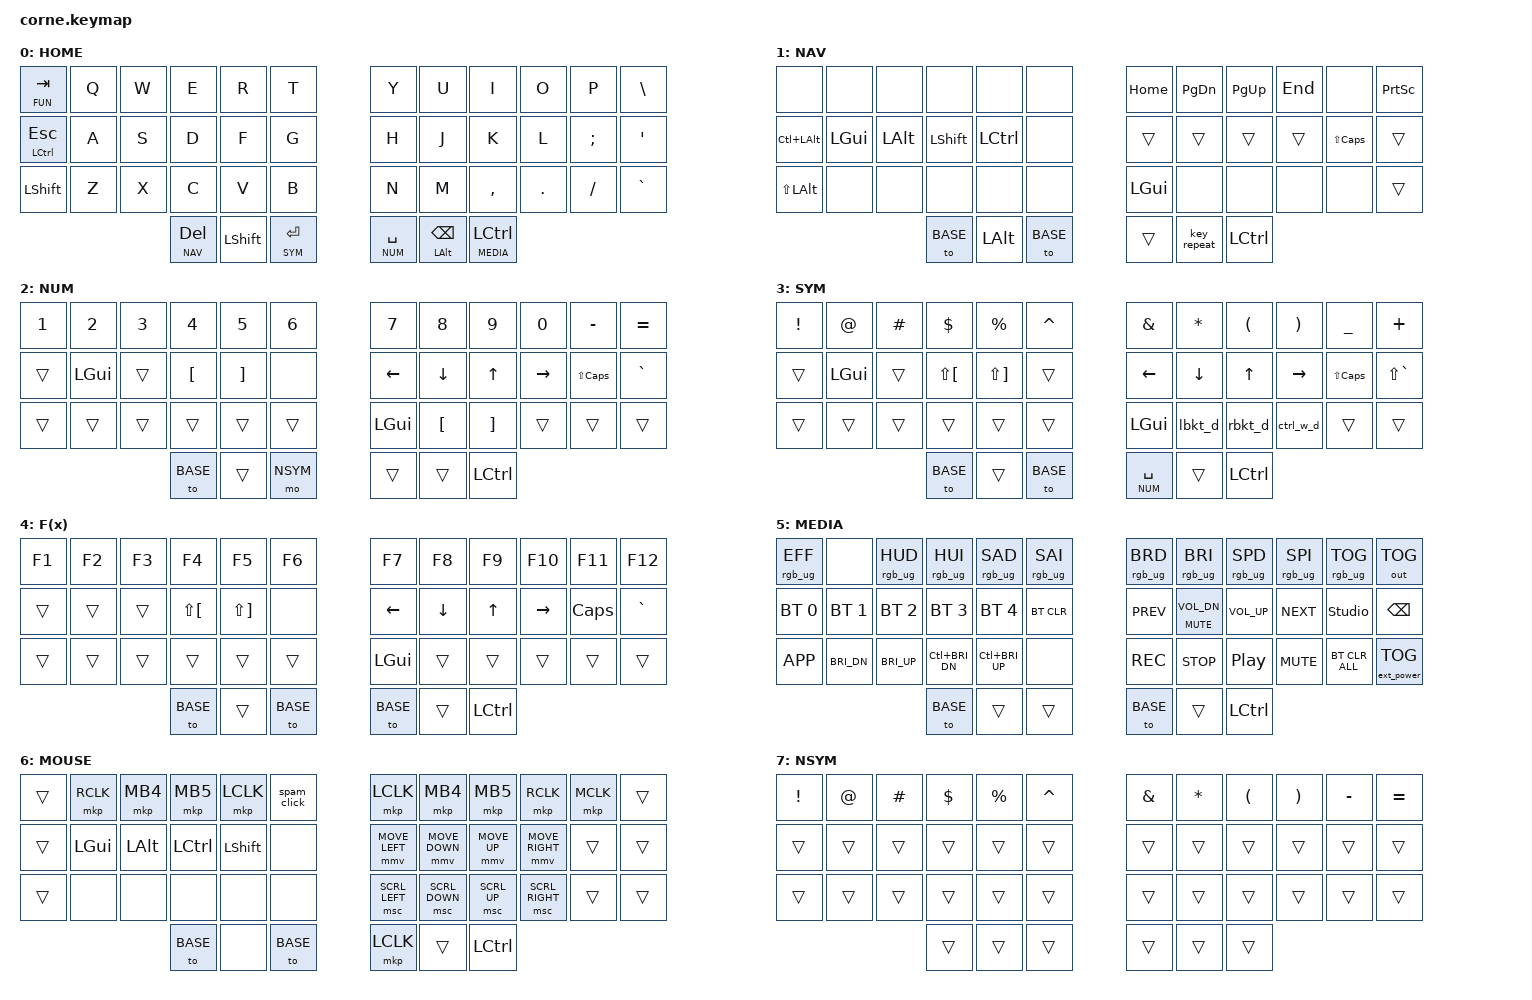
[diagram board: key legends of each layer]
#include <behaviors.dtsi>
#include <dt-bindings/zmk/bt.h>
#include <dt-bindings/zmk/ext_power.h>
#include <dt-bindings/zmk/keys.h>
#include <dt-bindings/zmk/outputs.h>

#define ZMK_POINTING_DEFAULT_MOVE_VAL 1200  // default: 600
#define ZMK_POINTING_DEFAULT_SCRL_VAL 40    // default: 10
#include <dt-bindings/zmk/pointing.h>
#include <zephyr/dt-bindings/input/input-event-codes.h>
#include <dt-bindings/zmk/rgb.h>

#define BASE  0
#define NAV   1
#define NUM   2
#define SYM   3
#define FUN   4
#define MEDIA 5
#define MOUSE 6
#define NSYM  7

// Corne key positions (42 keys):
// Row 0:  0  1  2  3  4  5    6  7  8  9  10  11
// Row 1: 12 13 14 15 16 17   18 19 20 21  22  23
// Row 2: 24 25 26 27 28 29   30 31 32 33  34  35
// Thumb:          36 37 38   39 40 41

&mt {
    flavor = "tap-preferred";
    tapping-term-ms = <175>;
    quick-tap-ms = <175>;
    require-prior-idle-ms = <50>;
};

&lt {
    flavor = "tap-preferred";
    tapping-term-ms = <175>;
    quick-tap-ms = <175>;
    require-prior-idle-ms = <50>;
};

// Mouse movement configuration
&mmv {
    time-to-max-speed-ms = <300>;
    acceleration-exponent = <2>;
};

// Mouse scroll configuration
&msc {
    time-to-max-speed-ms = <750>;
    acceleration-exponent = <1>;
};

&key_repeat {
    usage-pages = <HID_USAGE_KEY HID_USAGE_CONSUMER>;
};

/ {
    behaviors {
        mt_fast: mt_fast {
            compatible = "zmk,behavior-hold-tap";
            #binding-cells = <2>;
            flavor = "tap-preferred";
            tapping-term-ms = <140>;
            quick-tap-ms = <140>;
            require-prior-idle-ms = <25>;
            bindings = <&kp>, <&kp>;          // This makes it act exactly like 'mt'
        };
        mt_slow: mt_slow {
            compatible = "zmk,behavior-hold-tap";
            #binding-cells = <2>;
            flavor = "tap-preferred";
            tapping-term-ms = <250>;          // Your different timing here
            quick-tap-ms = <250>;
            require-prior-idle-ms = <100>;
            bindings = <&kp>, <&kp>;          // This makes it act exactly like 'mt'
        };
        lt_fast: lt_fast {
            compatible = "zmk,behavior-hold-tap";
            #binding-cells = <2>;
            flavor = "tap-preferred";
            tapping-term-ms = <140>;
            quick-tap-ms = <140>;
            require-prior-idle-ms = <25>;
            bindings = <&mo>, <&kp>;
        };
        lt_slow: lt_slow {
            compatible = "zmk,behavior-hold-tap";
            #binding-cells = <2>;
            flavor = "tap-preferred";
            tapping-term-ms = <250>;          // Your different timing here
            quick-tap-ms = <250>;
            require-prior-idle-ms = <135>;
            bindings = <&mo>, <&kp>;          // This makes it act exactly like 'mt'
        };

        // // --- H MORPH LOGIC ---
        // h_ctrl: h_ctrl {
        //     compatible = "zmk,behavior-mod-morph";
        //     #binding-cells = <0>;
        //     bindings = <&kp H>, <&kp LC(LA(H))>; // Normal H vs Ctrl+Alt+H
        //     mods = <(MOD_LCTL)>;
        // };
        //
        // h_morph: h_morph {
        //     compatible = "zmk,behavior-mod-morph";
        //     #binding-cells = <0>;
        //     bindings = <&h_ctrl>, <&kp LS(LA(H))>; // Shift+Alt+H if Shift held
        //     mods = <(MOD_LSFT)>;
        // };
        //
        // // --- L MORPH LOGIC ---
        // l_ctrl: l_ctrl {
        //     compatible = "zmk,behavior-mod-morph";
        //     #binding-cells = <0>;
        //     bindings = <&kp L>, <&kp LC(LA(L))>; // Normal L vs Ctrl+Alt+L
        //     mods = <(MOD_LCTL)>;
        // };
        //
        // l_morph: l_morph {
        //     compatible = "zmk,behavior-mod-morph";
        //     #binding-cells = <0>;
        //     bindings = <&l_ctrl>, <&kp LS(LA(L))>; // Shift+Alt+L if Shift held
        //     mods = <(MOD_LSFT)>;
        // };

        //td_space: tap_dance_space {
        //    compatible = "zmk,behavior-tap-dance";
        //    #binding-cells = <0>;
        //    tapping-term-ms = <165>;
        //    /* 1st tap: Layer-Tap (Hold = NAV, Tap = SPACE)
        //       2nd tap: Layer action for SYM layer */
        //    bindings = <&lt NAV SPACE>, <&sl SYM>;
        //};

        //td_quote: tap_dance_quote {
        //    compatible = "zmk,behavior-tap-dance";
        //    #binding-cells = <0>;
        //    tapping-term-ms = <165>;
        //    /* 1st tap: Single Quote (')
        //       2nd tap: Grave / Backtick (`) */
        //    bindings = <&kp SQT>, <&kp GRAVE>;
        //};

        /* 1. Custom Hold-Taps: 
            Holds = Momentary Layer
            Taps  = Space key
        */
        //lt_tap_hold: lt_tap_hold {
        //    compatible = "zmk,behavior-hold-tap";
        //    #binding-cells = <2>;
        //    flavor = "tap-preferred";
        //    //flavor = "hold-preferred";
        //    tapping-term-ms = <40>;
        //    //require-prior-idle-ms = <150>;
        //    bindings = <&mo>, <&kp>; // First param = layer, Second param = keycode
        //};

        //mt_tap_hold: mt_tap_hold {
        //    compatible = "zmk,behavior-hold-tap";
        //    #binding-cells = <2>;
        //    flavor = "tap-preferred";
        //    //flavor = "hold-preferred";
        //    tapping-term-ms = <40>;
        //    //require-prior-idle-ms = <150>;
        //    bindings = <&kp>, <&kp>; // First param = layer, Second param = keycode
        //};

        /* 2. Tap Dance:
            1st action (Tap/Hold) -> Space on tap, NUM on hold
            2nd action (Double-Tap) -> Permanently switch layer
        */
        //num_mouse_space: num_mouse_space {
        //    compatible = "zmk,behavior-tap-dance";
        //    #binding-cells = <0>;
        //    tapping-term-ms = <150>;
        //    bindings = <&lt_tap_hold NUM SPACE>, <&to MOUSE>;
        //};

        //num_lock: num_lock {
        //    compatible = "zmk,behavior-tap-dance";
        //    #binding-cells = <0>;
        //    tapping-term-ms = <150>;
        //    bindings = <&lt_tap_hold NUM SPACE>, <&to NUM>;
        //};

        //sft_mouse: sft_mouse {
        //    compatible = "zmk,behavior-tap-dance";
        //    #binding-cells = <0>;
        //    tapping-term-ms = <150>;
        //    bindings = <&mt_tap_hold LSHFT BSPC>, <&to FUN>;
        //};

        //nav_mouse: nav_mouse {
        //    compatible = "zmk,behavior-tap-dance";
        //    #binding-cells = <0>;
        //    tapping-term-ms = <200>;
        //    bindings = <&lt_tap_hold NAV DEL>, <&to MOUSE>;
        //};

        ht_ctrl_tog: hold_ctrl_tap_toggle {
            compatible = "zmk,behavior-hold-tap";
            #binding-cells = <2>;
            flavor = "hold-preferred";
            tapping-term-ms = <250>;
            // The first binding is for hold (&kp), the second is for tap (&tog)
            bindings = <&kp>, <&tog>; 
        };

        // 2. DEDICATED FAST NODES FOR TAPS
        // These hit maximum velocity instantly, bypassing the ramp-up.
        mmv_fast: mmv_fast {
            compatible = "zmk,behavior-input-two-axis";
            #binding-cells = <1>;
            x-input-code = <INPUT_REL_X>;
            y-input-code = <INPUT_REL_Y>;
            time-to-max-speed-ms = <1>;
            acceleration-exponent = <1>;
        };

        msc_fast: msc_fast {
            compatible = "zmk,behavior-input-two-axis";
            #binding-cells = <1>;
            x-input-code = <INPUT_REL_HWHEEL>;
            y-input-code = <INPUT_REL_WHEEL>;
            time-to-max-speed-ms = <1>;
            acceleration-exponent = <1>;
        };

        ht_mmv: ht_mmv {
            compatible = "zmk,behavior-hold-tap";
            #binding-cells = <2>;
            flavor = "tap-preferred";
            tapping-term-ms = <130>;
            // Hold uses standard mmv, tap uses the 50ms macro
            bindings = <&mmv>, <&mmv_tap_macro>;
        };

        ht_msc: ht_msc {
            compatible = "zmk,behavior-hold-tap";
            #binding-cells = <2>;
            flavor = "tap-preferred";
            tapping-term-ms = <130>;
            // Hold uses standard msc, tap uses the 50ms macro
            bindings = <&msc>, <&msc_tap_macro>;
        };
    };
};

/ {
    combos {
        compatible = "zmk,combos";

        // f + j
        combo_caps_word {
            bindings = <&caps_word>;
            key-positions = <16 19>;
            timeout-ms = <68>;
            require-prior-idle-ms = <35>;
        };

        // j + k
        combo_lctrl {
            bindings = <&kp LCTRL>;
            key-positions = <19 20>;
            timeout-ms = <68>;
            require-prior-idle-ms = <35>;
        };

        // k + l
        combo_lshft {
            bindings = <&kp LSHFT>;
            key-positions = <20 21>;
            timeout-ms = <68>;
            require-prior-idle-ms = <35>;
        };

        // d + f
        combo_alt {
            bindings = <&kp LALT>;
            key-positions = <15 16>;
            timeout-ms = <68>;
            require-prior-idle-ms = <35>;
        };

        // j + k + l
        combo_ctrl_shft {
            bindings = <&kp LC(LSHFT)>;
            key-positions = <19 20 21>;
            timeout-ms = <68>;
            require-prior-idle-ms = <35>;
        };

        // s + d + f
        combo_ctrl_shft_lft {
            bindings = <&kp LC(LSHFT)>;
            key-positions = <14 15 16>;
            timeout-ms = <68>;
            require-prior-idle-ms = <35>;
        };

        // ctrl + tb
        combo_ctrl_shft_alt {
            bindings = <&kp LC(LSHFT)>;
            key-positions = <37 12>;
            timeout-ms = <90>;
            require-prior-idle-ms = <30>;
        };


        // td + tf
        combo_num_lock {
            bindings = <&to NUM>;
            key-positions = <39 41>;
            timeout-ms = <75>;
            require-prior-idle-ms = <75>;
        };

        /* // ta + tc
        combo_sym_exclamation {
            bindings = <&kp EXCL>;
            key-positions = <0 38 39>;
            timeout-ms = <50>;
            require-prior-idle-ms = <40>;
        }; */

        // ta + tc
        combo_sym_lock {
            bindings = <&to SYM>;
            key-positions = <36 38>;
            timeout-ms = <75>;
            require-prior-idle-ms = <75>;
        };
        /* combo_fn { */
        /*     bindings = <&mo FUN>; */
        /*     key-positions = <36 37>; */
        /*     timeout-ms = <68>; */
        /*     require-prior-idle-ms = <45>; */
        /* }; */

        // td + te
        /* combo_fun_lock {
            bindings = <&to FUN>;
            // key-positions = <39 41>;
            key-positions = <39 40>;
            timeout-ms = <68>;
            require-prior-idle-ms = <45>;
        }; */

        // td + p
        // combo_space_p {
        //     bindings = <&space_p>;
        //     key-positions = <39 10>;
        //     timeout-ms = <60>;
        //     require-prior-idle-ms = <45>;
        // };
        combo_lpar {
            bindings = <&kp LPAR>;
            key-positions = <38 8>;
            timeout-ms = <60>;
            require-prior-idle-ms = <30>;
        };
        combo_rpar {
            bindings = <&kp RPAR>;
            key-positions = <38 9>;
            timeout-ms = <60>;
            require-prior-idle-ms = <30>;
        };
        combo_lgui {
            bindings = <&kp LGUI>;
            key-positions = <31 32>;
            timeout-ms = <60>;
            require-prior-idle-ms = <30>;
        };
        combo_lgui_alt {
            bindings = <&kp LGUI>;
            key-positions = <25 26>;
            timeout-ms = <60>;
            require-prior-idle-ms = <30>;
        };
        combo_lgui_i {
            bindings = <&kp LG(I)>;
            key-positions = <7 8 9>;
            timeout-ms = <60>;
            require-prior-idle-ms = <30>;
        };
        /*
        combo_minus {
            bindings = <&kp MINUS>;
            key-positions = <39 10>;
            timeout-ms = <60>;
            require-prior-idle-ms = <30>;
        };
        combo_equal {
            bindings = <&kp EQUAL>;
            key-positions = <39 11>;
            timeout-ms = <170>;
            require-prior-idle-ms = <30>;
        };
        combo_dollar {
            bindings = <&kp DOLLAR>;
            key-positions = <38 3>;
            timeout-ms = <170>;
            require-prior-idle-ms = <30>;
        };
        combo_caret {
            bindings = <&kp CARET>;
            key-positions = <38 5>;
            timeout-ms = <170>;
            require-prior-idle-ms = <30>;
        };
        combo_underscore {
            bindings = <&kp UNDERSCORE>;
            key-positions = <38 10>;
            timeout-ms = <170>;
            require-prior-idle-ms = <30>;
        };
        combo_plus {
            bindings = <&kp PLUS>;
            key-positions = <38 11>;
            timeout-ms = <170>;
            require-prior-idle-ms = <30>;
        };
        combo_lcurly {
            bindings = <&kp LS(LBKT)>;
            key-positions = <38 15>;
            timeout-ms = <60>;
            require-prior-idle-ms = <30>;
        };
        combo_rcurly {
            bindings = <&kp LS(RBKT)>;
            key-positions = <38 16>;
            timeout-ms = <60>;
            require-prior-idle-ms = <30>;
        };
        combo_lbkt {
            bindings = <&kp LBKT>;
            key-positions = <39 15>;
            timeout-ms = <60>;
            require-prior-idle-ms = <30>;
        };
        combo_rbkt {
            bindings = <&kp RBKT>;
            key-positions = <39 16>;
            timeout-ms = <60>;
            require-prior-idle-ms = <30>;
        };

        // te + p
        /* combo_underscore { */
        /*     bindings = <&kp UNDERSCORE>; */
        /*     key-positions = <40 10>; */
        /*     timeout-ms = <68>; */
        /*     require-prior-idle-ms = <45>; */
        /* }; */

        // tc + td
        combo_shift_enter {
            bindings = <&kp LS(RET)>;
            key-positions = <38 39>;
            timeout-ms = <90>;
            require-prior-idle-ms = <30>;
        };

        // tc + td + te
        combo_alt_shift_enter {
            bindings = <&kp LS(LA(RET))>;
            key-positions = <38 39 40>;
            timeout-ms = <120>;
            require-prior-idle-ms = <30>;
        };

        // ta + tf
        combo_nav_lctr_mouse {
            bindings = <&ht_ctrl_tog LCTRL MOUSE>;
            key-positions = <36 41>;
            timeout-ms = <150>;
            require-prior-idle-ms = <30>;
        };

        // shft + ta
        combo_nav_shft {
            bindings = <&kp LS(LALT)>;
            key-positions = <36 24>;
            timeout-ms = <120>;
            require-prior-idle-ms = <30>;
        };

        // ctrl + ta
        combo_nav_ctrl {
            bindings = <&kp LC(LALT)>;
            key-positions = <36 12>;
            timeout-ms = <120>;
            require-prior-idle-ms = <30>;
        };

        // c + v
        combo_visual {
            bindings = <&kp LS(V)>;
            key-positions = <27 28>;
            timeout-ms = <70>;
            require-prior-idle-ms = <35>;
        };

        // o + p
        /* combo_term_paste {
            bindings = <&kp LA(P)>;
            key-positions = <9 10>;
            timeout-ms = <58>;
            require-prior-idle-ms = <65>;
        }; */

        // j + b
        combo_next_tab {
            bindings = <&kp LC(TAB)>;
            key-positions = <29 19> ;
            timeout-ms = <70>;
            require-prior-idle-ms = <35>;
        };

        // j + v
        combo_prev_tab {
            bindings = <&kp LC(LS(TAB))>;
            key-positions = <28 19> ;
            timeout-ms = <70>;
            require-prior-idle-ms = <35>;
        };

        // q + j
        combo_quit {
            bindings = <&kp LC(Q)>;
            key-positions = <1 19> ;
            timeout-ms = <70>;
            require-prior-idle-ms = <45>;
        };

        /* // w + j */
        /* combo_del_word { */
        /*     bindings = <&kp LC(W)>; */
        /*     key-positions = <2 31> ; */
        /*     timeout-ms = <68>; */
        /*     require-prior-idle-ms = <45>; */
        /* }; */
        /**/
        /* // r + j */
        /* combo_redo { */
        /*     bindings = <&kp LC(R)>; */
        /*     key-positions = <4 31> ; */
        /*     timeout-ms = <68>; */
        /*     require-prior-idle-ms = <45>; */
        /* }; */

        // ta + r
        /* combo_redo_ctrl {
            bindings = <&kp LC(R)>;
            key-positions = <4 36> ;
            timeout-ms = <90>;
            require-prior-idle-ms = <65>;
        }; */

        // tab + q
        combo_mouse {
            bindings = <&mo MOUSE>;
            key-positions = <0 1> ;
            timeout-ms = <110>;
            require-prior-idle-ms = <25>;
        };

        // tab + ctrl
        combo_mouse_alt {
            bindings = <&mo MOUSE>;
            key-positions = <0 12> ;
            timeout-ms = <110>;
            require-prior-idle-ms = <25>;
        };

        /* // m + t */
        /* combo_new_tab { */
        /*     bindings = <&kp LC(T)>; */
        /*     key-positions = <5 31> ; */
        /*     timeout-ms = <68>; */
        /*     require-prior-idle-ms = <45>; */
        /* }; */
        /**/
        /* // m + b */
        /* combo_word_back { */
        /*     bindings = <&kp LC(B)>; */
        /*     key-positions = <29 31> ; */
        /*     timeout-ms = <68>; */
        /*     require-prior-idle-ms = <45>; */
        /* }; */

        // te + v
        combo_tmux_vim_mode {
            bindings = <&kp LA(V)>;
            key-positions = <28 40>;
            timeout-ms = <80>;
            require-prior-idle-ms = <35>;
        };
        // td + te + v
        combo_term_vim_mode {
            bindings = <&kp LS(LA(V))>;
            key-positions = <28 39 40>;
            timeout-ms = <80>;
            require-prior-idle-ms = <35>;
        };

        // te + j
        combo_nvim_dwn {
            bindings = <&kp LA(J)>;
            key-positions = <19 40>;
            timeout-ms = <80>;
            require-prior-idle-ms = <35>;
        };

        // te + k
        combo_nvim_up {
            bindings = <&kp LA(K)>;
            key-positions = <20 40>;
            timeout-ms = <80>;
            require-prior-idle-ms = <35>;
        };

        // te + h
        combo_nvim_lft {
            bindings = <&kp LA(H)>;
            key-positions = <18 40>;
            timeout-ms = <80>;
            require-prior-idle-ms = <35>;
        };

        // te + l
        combo_nvim_ryt {
            bindings = <&kp LA(L)>;
            key-positions = <21 40>;
            timeout-ms = <80>;
            require-prior-idle-ms = <35>;
        };

        // te + p
        combo_nvim_ins_paste {
            bindings = <&kp LA(P)>;
           key-positions = <10 40>;
           timeout-ms = <110>;
           require-prior-idle-ms = <30>;
        };
        // combo_vim_paste_ahead {
        //     bindings = <&kp LS(P)>;
        //     key-positions = <27 40>;
        //     timeout-ms = <68>;
        //     require-prior-idle-ms = <45>;
        // };

        /* // m + v */
        /* combo_paste { */
        /*     bindings = <&kp LC(V)>; */
        /*     key-positions = <28 31> ; */
        /*     timeout-ms = <68>; */
        /*     require-prior-idle-ms = <45>; */
        /* }; */
        /**/
        /* // m + c */
        /* combo_copy { */
        /*     bindings = <&kp LC(C)>; */
        /*     key-positions = <27 31> ; */
        /*     timeout-ms = <68>; */
        /*     require-prior-idle-ms = <45>; */
        /* }; */
        /**/
        /* // m + x */
        /* combo_cut { */
        /*     bindings = <&kp LC(X)>; */
        /*     key-positions = <26 31> ; */
        /*     timeout-ms = <68>; */
        /*     require-prior-idle-ms = <45>; */
        /* }; */
        /**/
        /* // m + z */
        /* combo_undo { */
        /*     bindings = <&kp LC(Z)>; */
        /*     key-positions = <25 31> ; */
        /*     timeout-ms = <68>; */
        /*     require-prior-idle-ms = <45>; */
        /* }; */
        /**/
        /* // m + k */
        /* combo_search { */
        /*     bindings = <&kp LC(K)>; */
        /*     key-positions = <20 31> ; */
        /*     timeout-ms = <68>; */
        /*     require-prior-idle-ms = <45>; */
        /* }; */
        /**/
        /* // m + s */
        /* combo_save { */
        /*     bindings = <&kp LC(S)>; */
        /*     key-positions = <14 31> ; */
        /*     timeout-ms = <68>; */
        /*     require-prior-idle-ms = <45>; */
        /* }; */
        /**/
        /* // m + l */
        /* combo_browser_addr { */
        /*     bindings = <&kp LC(L)>; */
        /*     key-positions = <21 31> ; */
        /*     timeout-ms = <68>; */
        /*     require-prior-idle-ms = <45>; */
        /* }; */
        /**/
        /* // m + i */
        /* combo_browser_inspect { */
        /*     bindings = <&kp LC(LS(I))>; */
        /*     key-positions = <8 31> ; */
        /*     timeout-ms = <68>; */
        /*     require-prior-idle-ms = <45>; */
        /* }; */
        /**/
        /* // m + f */
        /* combo_find { */
        /*     bindings = <&kp LC(F)>; */
        /*     key-positions = <16 31> ; */
        /*     timeout-ms = <68>; */
        /*     require-prior-idle-ms = <45>; */
        /* }; */
        /**/
        /* // m + d */
        /* combo_word_del { */
        /*     bindings = <&kp LC(D)>; */
        /*     key-positions = <15 31> ; */
        /*     timeout-ms = <68>; */
        /*     require-prior-idle-ms = <45>; */
        /* }; */
        /**/
        /* // m + a */
        /* combo_sel_all { */
        /*     bindings = <&kp LC(A)>; */
        /*     key-positions = <13 31> ; */
        /*     timeout-ms = <68>; */
        /*     require-prior-idle-ms = <45>; */
        /* }; */
        /* combo_new { */
        /*     bindings = <&kp LC(N)>; */
        /*     key-positions = <30 31> ; */
        /*     timeout-ms = <68>; */
        /*     require-prior-idle-ms = <45>; */
        /* }; */
        /* combo_colon { */
        /*     bindings = <&kp COLON>; */
        /*     key-positions = <39 22>; */
        /*     timeout-ms = <68>; */
        /*     require-prior-idle-ms = <45>; */
        /* }; */

        // l + ;
        combo_colon_right {
            bindings = <&kp COLON>;
            key-positions = <21 22>;
            timeout-ms = <68>;
            require-prior-idle-ms = <35>;
        };

        // te + ,
        combo_less_than {
            bindings = <&kp LS(COMMA)>;
            key-positions = <32 40>;
            timeout-ms = <68>;
            require-prior-idle-ms = <35>;
        };

        // te + .
        combo_greater_than {
            bindings = <&kp LS(DOT)>;
            key-positions = <33 40>;
            timeout-ms = <68>;
            require-prior-idle-ms = <35>;
        };

        // te + /
        combo_question {
            bindings = <&kp LS(FSLH)>;
            key-positions = <34 40>;
            timeout-ms = <68>;
            require-prior-idle-ms = <35>;
        };

        // te + backslash
        combo_pipe {
            bindings = <&kp LS(BSLH)>;
            key-positions = <11 40>;
            timeout-ms = <80>;
            require-prior-idle-ms = <35>;
        };

        // ; + '
        combo_quote_right {
            bindings = <&kp LS(SQT)>;
            key-positions = <22 23>;
            timeout-ms = <68>;
            require-prior-idle-ms = <35>;
        };

        // l + '
        combo_grave_right {
            bindings = <&kp GRAVE>;
            key-positions = <21 23>;
            timeout-ms = <68>;
            require-prior-idle-ms = <35>;
        };

        // // ls + ta
        // combo_alt_ctrl {
        //     bindings = <&kp LC(LALT)>;
        //     key-positions = <24 36>;
        //     timeout-ms = <90>;
        //     require-prior-idle-ms = <50>;
        // };
        //
        // // lc + ta
        // combo_alt_shift {
        //     bindings = <&kp LS(LALT)>;
        //     key-positions = <12 36>;
        //     timeout-ms = <90>;
        //     require-prior-idle-ms = <50>;
        // };
    };

    macros {
        hyper: hyper {
            compatible = "zmk,behavior-macro";
            #binding-cells = <0>;
            bindings =
                <&macro_press &kp LGUI &kp LALT &kp LCTRL &kp LSHFT>,
                <&macro_pause_for_release>,
                <&macro_release &kp LGUI &kp LALT &kp LCTRL &kp LSHFT>;
        };

        spam_click: spam_click {
            compatible = "zmk,behavior-macro";
            #binding-cells = <0>;
            wait-ms = <28>;  // Time between clicks
            tap-ms = <28>;   // Duration of the click down-state
            bindings = 
                <&mkp LCLK>,
                <&mkp LCLK>,
                // <&mkp LCLK>,
                // <&mkp LCLK>,
                <&mkp LCLK>; // Adds a 5-click burst
        };

       mmv_tap_macro: mmv_tap_macro {
            compatible = "zmk,behavior-macro-one-param";
            #binding-cells = <1>;
            bindings = 
                <&macro_param_1to1>,
                <&macro_press &mmv_fast 0>,
                <&macro_wait_time 500>,      // 50ms of instant max speed
                <&macro_param_1to1>,
                <&macro_release &mmv_fast 0>;
        };

        msc_tap_macro: msc_tap_macro {
            compatible = "zmk,behavior-macro-one-param";
            #binding-cells = <1>;
            bindings = 
                <&macro_param_1to1>,
                <&macro_press &msc_fast 0>,
                <&macro_wait_time 500>,      // 50ms of instant max scroll
                <&macro_param_1to1>,
                <&macro_release &msc_fast 0>;
        };
        // prev diagnostic nvim
        lbkt_d: lbkt_d {
            compatible = "zmk,behavior-macro";
            #binding-cells = <0>;
            bindings = <&kp LBKT>, <&kp D>;
        };

        // next diagnostic nvim
        rbkt_d: rbkt_d {
            compatible = "zmk,behavior-macro";
            #binding-cells = <0>;
            bindings = <&kp RBKT>, <&kp D>;
        };

        /* space_p: space_p {
            compatible = "zmk,behavior-macro";
            #binding-cells = <0>;
            bindings = <&kp SPACE>, <&kp P>;
        }; */

        // diagnostic under cursor nvim
        ctrl_w_d: ctrl_w_d {
            compatible = "zmk,behavior-macro";
            #binding-cells = <0>;
            bindings = <&kp LC(W)>, <&kp D>;
        };
    };


    keymap {
        compatible = "zmk,keymap";

        base_layer {
            display-name = "HOME";
            bindings = <
//    ┌──────────────────┬───┬───┬─────────────────┬──────┬─────────────────┐   ┌─────────────────┬───────────────────┬────────────────────┬───┬───┬───┐
//    │ lt_slow FUN tab  │ Q │ W │        E        │  R   │        T        │   │        Y        │         U         │         I          │ O │ P │ \ │
//    ├──────────────────┼───┼───┼─────────────────┼──────┼─────────────────┤   ├─────────────────┼───────────────────┼────────────────────┼───┼───┼───┤
//    │ mt_slow lctl esc │ A │ S │        D        │  F   │        G        │   │        H        │         J         │         K          │ L │ ; │ ' │
//    ├──────────────────┼───┼───┼─────────────────┼──────┼─────────────────┤   ├─────────────────┼───────────────────┼────────────────────┼───┼───┼───┤
//    │       lsft       │ Z │ X │        C        │  V   │        B        │   │        N        │         M         │         ,          │ . │ / │ ` │
//    └──────────────────┴───┴───┼─────────────────┼──────┼─────────────────┤   ├─────────────────┼───────────────────┼────────────────────┼───┴───┴───┘
//                               │ lt_fast NAV del │ lsft │ lt_fast SYM ent │   │ lt_fast NUM spc │ mt_fast lalt bspc │ lt_fast MEDIA lctl │
//                               └─────────────────┴──────┴─────────────────┘   └─────────────────┴───────────────────┴────────────────────┘
  &lt_slow FUN TAB     &kp Q   &kp W   &kp E              &kp R       &kp T                  &kp Y                &kp U                &kp I                  &kp O     &kp P      &kp BSLH
  &mt_slow LCTRL ESC   &kp A   &kp S   &kp D              &kp F       &kp G                  &kp H                &kp J                &kp K                  &kp L     &kp SEMI   &kp SQT
  &kp LSHFT            &kp Z   &kp X   &kp C              &kp V       &kp B                  &kp N                &kp M                &kp COMMA              &kp DOT   &kp FSLH   &kp GRAVE
                                       &lt_fast NAV DEL   &kp LSHFT   &lt_fast SYM RET       &lt_fast NUM SPACE   &mt_fast LALT BSPC   &lt_fast MEDIA LCTRL
            >;
        };

        nav_layer {
            display-name = "NAV";
            bindings = <
//    ┌────────────┬──────┬──────┬─────────┬──────┬─────────┐   ┌──────┬──────┬──────┬─────┬────────────┬──────┐
//    │            │      │      │         │      │         │   │ home │ pgdn │ pgup │ end │            │ pscr │
//    ├────────────┼──────┼──────┼─────────┼──────┼─────────┤   ├──────┼──────┼──────┼─────┼────────────┼──────┤
//    │ lctl(lalt) │ lgui │ lalt │  lsft   │ lctl │         │   │      │      │      │     │ lsft(caps) │      │
//    ├────────────┼──────┼──────┼─────────┼──────┼─────────┤   ├──────┼──────┼──────┼─────┼────────────┼──────┤
//    │ lsft(lalt) │      │      │         │      │         │   │ lgui │      │      │     │            │      │
//    └────────────┴──────┴──────┼─────────┼──────┼─────────┤   ├──────┼──────┼──────┼─────┴────────────┴──────┘
//                               │ to BASE │ lalt │ to BASE │   │      │ keyr │ lctl │
//                               └─────────┴──────┴─────────┘   └──────┴──────┴──────┘
  &none          &none      &none      &none       &none       &none          &kp HOME   &kp PG_DN     &kp PG_UP   &kp END   &none          &kp PRINTSCREEN
  &kp LC(LALT)   &kp LGUI   &kp LALT   &kp LSHFT   &kp LCTRL   &none          &trans     &trans        &trans      &trans    &kp LS(CAPS)   &trans
  &kp LS(LALT)   &none      &none      &none       &none       &none          &kp LGUI   &none         &none       &none     &none          &trans
                                       &to BASE    &kp LALT    &to BASE       &trans     &key_repeat   &kp LCTRL
            >;
        };


  //&trans   &kp LS(A)   &kp LS(S)   &kp LS(D)   &kp LS(F)   &kp LS(G)       &kp LS(H)   &kp LS(J)   &kp LS(K)       &kp LS(L)     &mt LGUI SEMI   &kp GRAVE
  //&trans   &kp LS(Z)   &kp LS(X)   &kp LS(C)   &kp LS(V)   &kp LS(B)       &kp LS(N)   &kp LS(M)   &kp LS(COMMA)   &kp LS(DOT)   &kp LS(FSLH)    &trans
        num_layer {
            display-name = "NUM";
            bindings = <
//    ┌─────┬──────┬─────┬─────────┬─────┬─────────┐   ┌──────┬──────┬──────┬──────┬────────────┬─────┐
//    │  1  │  2   │  3  │    4    │  5  │    6    │   │  7   │  8   │  9   │  0   │     -      │  =  │
//    ├─────┼──────┼─────┼─────────┼─────┼─────────┤   ├──────┼──────┼──────┼──────┼────────────┼─────┤
//    │     │ lgui │     │    [    │  ]  │         │   │ left │ down │  up  │ rght │ lsft(caps) │  `  │
//    ├─────┼──────┼─────┼─────────┼─────┼─────────┤   ├──────┼──────┼──────┼──────┼────────────┼─────┤
//    │     │      │     │         │     │         │   │ lgui │  [   │  ]   │      │            │     │
//    └─────┴──────┴─────┼─────────┼─────┼─────────┤   ├──────┼──────┼──────┼──────┴────────────┴─────┘
//                       │ to BASE │     │ mo NSYM │   │      │      │ lctl │
//                       └─────────┴─────┴─────────┘   └──────┴──────┴──────┘
  &kp N1   &kp N2     &kp N3   &kp N4     &kp N5     &kp N6         &kp N7     &kp N8     &kp N9      &kp N0      &kp MINUS      &kp EQUAL
  &trans   &kp LGUI   &trans   &kp LBKT   &kp RBKT   &none          &kp LEFT   &kp DOWN   &kp UP      &kp RIGHT   &kp LS(CAPS)   &kp GRAVE
  &trans   &trans     &trans   &trans     &trans     &trans         &kp LGUI   &kp LBKT   &kp RBKT    &trans      &trans         &trans
                               &to BASE   &trans     &mo NSYM       &trans     &trans     &kp LCTRL
            >;
        };

        sym_layer {
            display-name = "SYM";
            bindings = <
//    ┌─────┬──────┬─────┬─────────┬─────────┬─────────┐   ┌─────────────────┬─────────┬─────────┬───────────┬────────────┬─────────┐
//    │  !  │  @   │  #  │    $    │    %    │    ^    │   │        &        │    *    │    (    │     )     │     _      │    +    │
//    ├─────┼──────┼─────┼─────────┼─────────┼─────────┤   ├─────────────────┼─────────┼─────────┼───────────┼────────────┼─────────┤
//    │     │ lgui │     │ lsft([) │ lsft(]) │         │   │      left       │  down   │   up    │   rght    │ lsft(caps) │ lsft(`) │
//    ├─────┼──────┼─────┼─────────┼─────────┼─────────┤   ├─────────────────┼─────────┼─────────┼───────────┼────────────┼─────────┤
//    │     │      │     │         │         │         │   │      lgui       │ &lbkt_d │ &rbkt_d │ &ctrl_w_d │            │         │
//    └─────┴──────┴─────┼─────────┼─────────┼─────────┤   ├─────────────────┼─────────┼─────────┼───────────┴────────────┴─────────┘
//                       │ to BASE │         │ to BASE │   │ lt_fast NUM spc │         │  lctl   │
//                       └─────────┴─────────┴─────────┘   └─────────────────┴─────────┴─────────┘
  &kp EXCL   &kp AT     &kp HASH   &kp DOLLAR     &kp PERCENT    &kp CARET       &kp AMPS             &kp STAR   &kp LPAR    &kp RPAR    &kp UNDERSCORE   &kp PLUS
  &trans     &kp LGUI   &trans     &kp LS(LBKT)   &kp LS(RBKT)   &trans          &kp LEFT             &kp DOWN   &kp UP      &kp RIGHT   &kp LS(CAPS)     &kp LS(GRAVE)
  &trans     &trans     &trans     &trans         &trans         &trans          &kp LGUI             &lbkt_d    &rbkt_d     &ctrl_w_d   &trans           &trans
                                   &to BASE       &trans         &to BASE        &lt_fast NUM SPACE   &trans     &kp LCTRL
            >;
        };

        fun_layer {
            display-name = "F(x)";
            bindings = <
//    ┌─────┬─────┬─────┬─────────┬─────────┬─────────┐   ┌─────────┬──────┬──────┬──────┬──────┬─────┐
//    │ f1  │ f2  │ f3  │   f4    │   f5    │   f6    │   │   f7    │  f8  │  f9  │ f10  │ f11  │ f12 │
//    ├─────┼─────┼─────┼─────────┼─────────┼─────────┤   ├─────────┼──────┼──────┼──────┼──────┼─────┤
//    │     │     │     │ lsft([) │ lsft(]) │         │   │  left   │ down │  up  │ rght │ caps │  `  │
//    ├─────┼─────┼─────┼─────────┼─────────┼─────────┤   ├─────────┼──────┼──────┼──────┼──────┼─────┤
//    │     │     │     │         │         │         │   │  lgui   │      │      │      │      │     │
//    └─────┴─────┴─────┼─────────┼─────────┼─────────┤   ├─────────┼──────┼──────┼──────┴──────┴─────┘
//                      │ to BASE │         │ to BASE │   │ to BASE │      │ lctl │
//                      └─────────┴─────────┴─────────┘   └─────────┴──────┴──────┘
  &kp F1   &kp F2   &kp F3   &kp F4         &kp F5         &kp F6         &kp F7     &kp F8     &kp F9      &kp F10     &kp F11    &kp F12
  &trans   &trans   &trans   &kp LS(LBKT)   &kp LS(RBKT)   &none          &kp LEFT   &kp DOWN   &kp UP      &kp RIGHT   &kp CAPS   &kp GRAVE
  &trans   &trans   &trans   &trans         &trans         &trans         &kp LGUI   &trans     &trans      &trans      &trans     &trans
                             &to BASE       &trans         &to BASE       &to BASE   &trans     &kp LCTRL
            >;
        };

        media_layer {
            display-name = "MEDIA";
            bindings = <
//    ┌──────────┬──────────┬──────────┬────────────┬────────────┬─────────┐   ┌─────────┬───────────────────┬─────────┬─────────┬────────────────┬───────────┐
//    │ ug_ eff  │          │ ug_ hu-  │  ug_ hu+   │  ug_ sa-   │ ug_ sa+ │   │ ug_ br- │      ug_ br+      │ ug_ sp- │ ug_ sp+ │    ug_ tog     │ out_ tog  │
//    ├──────────┼──────────┼──────────┼────────────┼────────────┼─────────┤   ├─────────┼───────────────────┼─────────┼─────────┼────────────────┼───────────┤
//    │ bt_sel 0 │ bt_sel 1 │ bt_sel 2 │  bt_sel 3  │  bt_sel 4  │ bt_clr  │   │  prev   │ mt_slow mute vold │  volu   │  next   │ &studio_unlock │   bspc    │
//    ├──────────┼──────────┼──────────┼────────────┼────────────┼─────────┤   ├─────────┼───────────────────┼─────────┼─────────┼────────────────┼───────────┤
//    │   app    │   bri-   │   bri+   │ lctl(bri-) │ lctl(bri+) │         │   │   rec   │       stop        │  play   │  mute   │   bt_clr_ALL   │ epwr_ tog │
//    └──────────┴──────────┴──────────┼────────────┼────────────┼─────────┤   ├─────────┼───────────────────┼─────────┼─────────┴────────────────┴───────────┘
//                                     │  to BASE   │            │         │   │ to BASE │                   │  lctl   │
//                                     └────────────┴────────────┴─────────┘   └─────────┴───────────────────┴─────────┘
  &rgb_ug RGB_EFF   &none          &rgb_ug RGB_HUD   &rgb_ug RGB_HUI    &rgb_ug RGB_SAD    &rgb_ug RGB_SAI       &rgb_ug RGB_BRD   &rgb_ug RGB_BRI            &rgb_ug RGB_SPD   &rgb_ug RGB_SPI   &rgb_ug RGB_TOG   &out OUT_TOG
  &bt BT_SEL 0      &bt BT_SEL 1   &bt BT_SEL 2      &bt BT_SEL 3       &bt BT_SEL 4       &bt BT_CLR            &kp C_PREV        &mt_slow C_MUTE C_VOL_DN   &kp C_VOL_UP      &kp C_NEXT        &studio_unlock    &kp BSPC
  &kp K_APP         &kp C_BRI_DN   &kp C_BRI_UP      &kp LC(C_BRI_DN)   &kp LC(C_BRI_UP)   &none                 &kp C_REC         &kp C_STOP                 &kp C_PP          &kp C_MUTE        &bt BT_CLR_ALL    &ext_power EP_TOG
                                                     &to BASE           &trans             &trans                &to BASE          &trans                     &kp LCTRL
            >;
        };

        mouse_layer {
            display-name = "MOUSE";
            bindings = <
//    ┌─────┬──────┬──────┬─────────┬──────┬─────────────┐   ┌────────────────┬────────────────┬──────────────┬────────────────┬──────┬─────┐
//    │     │ rclk │ mbck │  mfwd   │ lclk │ &spam_click │   │      lclk      │      mbck      │     mfwd     │      rclk      │ mclk │     │
//    ├─────┼──────┼──────┼─────────┼──────┼─────────────┤   ├────────────────┼────────────────┼──────────────┼────────────────┼──────┼─────┤
//    │     │ lgui │ lalt │  lctl   │ lsft │             │   │ &mmv MOVE_left │ &mmv MOVE_down │ &mmv MOVE_up │ &mmv MOVE_rght │      │     │
//    ├─────┼──────┼──────┼─────────┼──────┼─────────────┤   ├────────────────┼────────────────┼──────────────┼────────────────┼──────┼─────┤
//    │     │      │      │         │      │             │   │ &msc SCRL_left │ &msc SCRL_down │ &msc SCRL_up │ &msc SCRL_rght │      │     │
//    └─────┴──────┴──────┼─────────┼──────┼─────────────┤   ├────────────────┼────────────────┼──────────────┼────────────────┴──────┴─────┘
//                        │ to BASE │      │   to BASE   │   │      lclk      │                │     lctl     │
//                        └─────────┴──────┴─────────────┘   └────────────────┴────────────────┴──────────────┘
  &trans   &mkp RCLK   &mkp MB4   &mkp MB5    &mkp LCLK   &spam_click       &mkp LCLK        &mkp MB4         &mkp MB5       &mkp RCLK         &mkp MCLK   &trans
  &trans   &kp LGUI    &kp LALT   &kp LCTRL   &kp LSHFT   &none             &mmv MOVE_LEFT   &mmv MOVE_DOWN   &mmv MOVE_UP   &mmv MOVE_RIGHT   &trans      &trans
  &trans   &none       &none      &none       &none       &none             &msc SCRL_LEFT   &msc SCRL_DOWN   &msc SCRL_UP   &msc SCRL_RIGHT   &trans      &trans
                                  &to BASE    &none       &to BASE          &mkp LCLK        &trans           &kp LCTRL
            >;
        };

        num_sym_layer {
            display-name = "NSYM";
            bindings = <
//    ┌─────┬─────┬─────┬─────┬─────┬─────┐   ┌─────┬─────┬─────┬─────┬─────┬─────┐
//    │  !  │  @  │  #  │  $  │  %  │  ^  │   │  &  │  *  │  (  │  )  │  -  │  =  │
//    ├─────┼─────┼─────┼─────┼─────┼─────┤   ├─────┼─────┼─────┼─────┼─────┼─────┤
//    │     │     │     │     │     │     │   │     │     │     │     │     │     │
//    ├─────┼─────┼─────┼─────┼─────┼─────┤   ├─────┼─────┼─────┼─────┼─────┼─────┤
//    │     │     │     │     │     │     │   │     │     │     │     │     │     │
//    └─────┴─────┴─────┼─────┼─────┼─────┤   ├─────┼─────┼─────┼─────┴─────┴─────┘
//                      │     │     │     │   │     │     │     │
//                      └─────┴─────┴─────┘   └─────┴─────┴─────┘
  &kp EXCL   &kp AT   &kp HASH   &kp DLLR   &kp PRCNT   &kp CARET       &kp AMPS   &kp ASTRK   &kp LPAR   &kp RPAR   &kp MINUS   &kp EQUAL
  &trans     &trans   &trans     &trans     &trans      &trans          &trans     &trans      &trans     &trans     &trans      &trans
  &trans     &trans   &trans     &trans     &trans      &trans          &trans     &trans      &trans     &trans     &trans      &trans
                                 &trans     &trans      &trans          &trans     &trans      &trans
            >;
        };
    };
};
